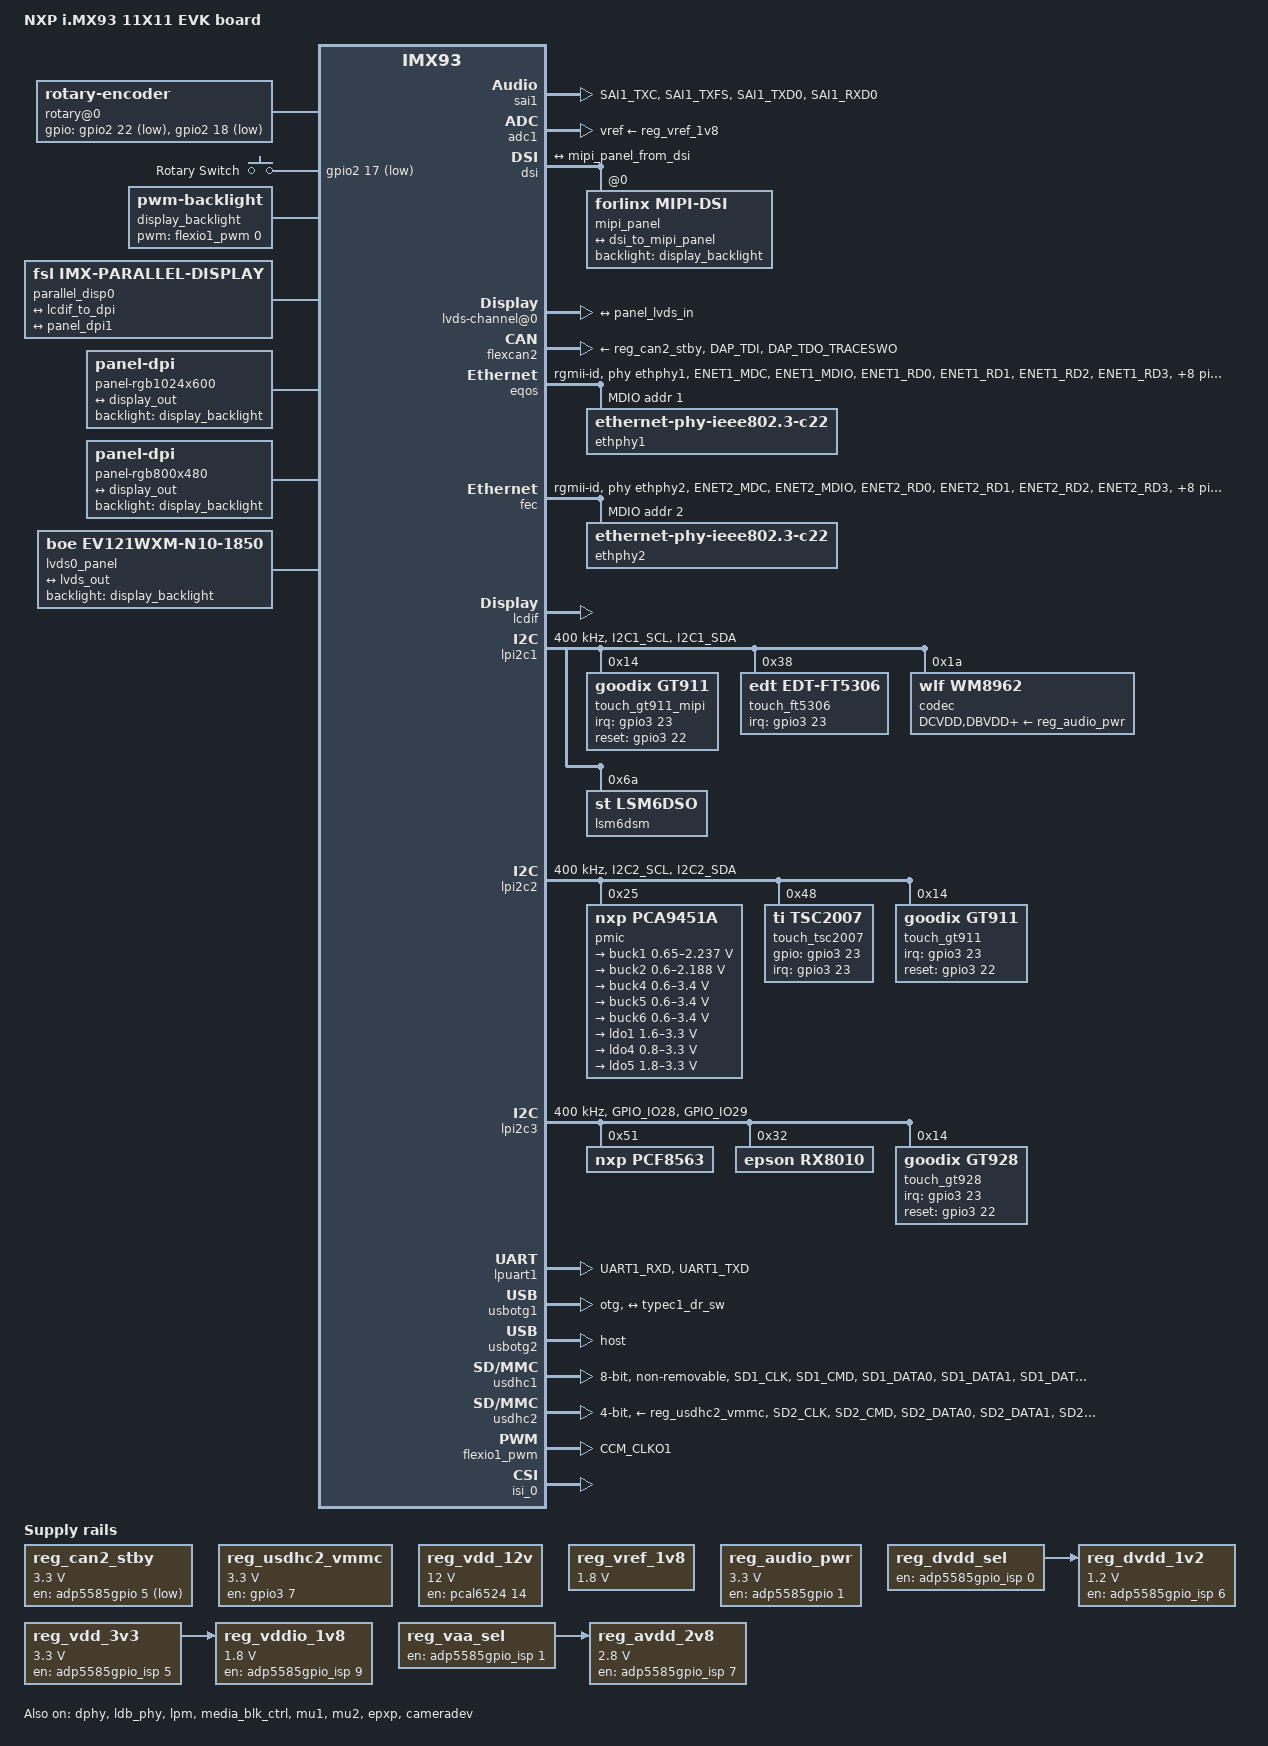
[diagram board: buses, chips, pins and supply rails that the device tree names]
// SPDX-License-Identifier: (GPL-2.0+ OR MIT)
/*
 * Copyright 2022 NXP
 */

/dts-v1/;

#include <dt-bindings/usb/pd.h>
#include "imx93.dtsi"
#include "imx93-pinfunc.h"  /*added*/
&ele_mu {
	memory-region = <&ele_reserved>;
};

/ {
	model = "NXP i.MX93 11X11 EVK board";
	compatible = "fsl,imx93-11x11-evk", "fsl,imx93";

	chosen {
		stdout-path = &lpuart1;
	};
/*added*/
rotary@0 {
        compatible = "rotary-encoder";
        pinctrl-names = "default";
        pinctrl-0 = <&rotary_encoder_pins>;
        gpios = <&gpio2 22 GPIO_ACTIVE_LOW>,   /* OUTA: P11-15 */
                <&gpio2 18 GPIO_ACTIVE_LOW>;   /* OUTB: P11-12 */
        linux,axis = <0>;
        rotary-encoder,relative-axis;
        rotary-encoder,rollover;
        rotary-encoder,steps-per-period = <2>;
        debounce-interval = <2>;
        wakeup-source;
    };

    rotary_sw: rotary-sw {
        compatible = "gpio-keys";
        pinctrl-names = "default";
        pinctrl-0 = <&rotary_sw_pins>;
        status = "okay";
 
        button {
            label = "Rotary Switch";
            gpios = <&gpio2 17 GPIO_ACTIVE_LOW>;  /* SW: P11-11 */
            linux,code = <28>; /* KEY_ENTER */
            debounce-interval = <10>;
        };
    };
/*added*/
/*	memory@80000000 {
		device_type = "memory";
		reg = <0x00000000 0x80000000 0x00000000 0x40000000>;
	};*/
	forlinx_control {
		//forlinx control display panel
		//"rgb1024x600" : rgb interface output 1024*600 image
		//"rgb800x480_capacitive" : rgb interface output 800x480 imag with capacitive touchpad
		//"rgb800x480_resistive" : rgb interface output 800x480 imag with resistive touchpad
		//"lvds" : lvds interface
		//"mipidsi" : mipidsi interface
		//"disabled" :  display interface, both rgb, lvds, mipidsi disabled
		//others keys are considered as interface disabled

		status = "disabled";
		video-vp0 = "rgb1024x600";   //rgb1024x600 rgb800x480_capacitive rgb800x480_resistive lvds mipidsi disabled
	};
	reserved-memory {
		#address-cells = <2>;
		#size-cells = <2>;
		ranges;

		linux,cma {
			compatible = "shared-dma-pool";
			reusable;
			alloc-ranges = <0 0x80000000 0 0x40000000>;
			size = <0 0x10000000>;
			linux,cma-default;
		};

/*		ethosu_mem: ethosu_region@C0000000 {
			compatible = "shared-dma-pool";
			reusable;
			reg = <0x0 0xC0000000 0x0 0x10000000>;
		};*/

		vdev0vring0: vdev0vring0@a4000000 {
			reg = <0 0xa4000000 0 0x8000>;
			no-map;
		};

		vdev0vring1: vdev0vring1@a4008000 {
			reg = <0 0xa4008000 0 0x8000>;
			no-map;
		};

		vdev1vring0: vdev1vring0@a4000000 {
			reg = <0 0xa4010000 0 0x8000>;
			no-map;
		};

		vdev1vring1: vdev1vring1@a4018000 {
			reg = <0 0xa4018000 0 0x8000>;
			no-map;
		};

		rsc_table: rsc-table@2021e000 {
			reg = <0 0x2021e000 0 0x1000>;
			no-map;
		};

		vdevbuffer: vdevbuffer@a4020000 {
			compatible = "shared-dma-pool";
			reg = <0 0xa4020000 0 0x100000>;
			no-map;
		};

		ele_reserved: ele-reserved@a4120000 {
			compatible = "shared-dma-pool";
			reg = <0 0xa4120000 0 0x100000>;
			no-map;
		};
	};

	cm33: imx93-cm33 {
		compatible = "fsl,imx93-cm33";
		mbox-names = "tx", "rx", "rxdb";
		mboxes = <&mu1 0 1
			  &mu1 1 1
			  &mu1 3 1>;
		memory-region = <&vdevbuffer>, <&vdev0vring0>, <&vdev0vring1>,
				<&vdev1vring0>, <&vdev1vring1>, <&rsc_table>;
		fsl,startup-delay-ms = <500>;
	};

/*	ethosu {
		compatible = "arm,ethosu";
		fsl,cm33-proc = <&cm33>;
		memory-region = <&ethosu_mem>;
		power-domains = <&mlmix>;
	};*/

	reg_can2_stby: regulator-can2-stby {
		compatible = "regulator-fixed";
		regulator-name = "can2-stby";
		regulator-min-microvolt = <3300000>;
		regulator-max-microvolt = <3300000>;
		gpio = <&adp5585gpio 5 GPIO_ACTIVE_LOW>;
		enable-active-low;
	};

	reg_usdhc2_vmmc: regulator-usdhc2 {
		compatible = "regulator-fixed";
		pinctrl-names = "default";
		pinctrl-0 = <&pinctrl_reg_usdhc2_vmmc>;
		regulator-name = "VSD_3V3";
		regulator-min-microvolt = <3300000>;
		regulator-max-microvolt = <3300000>;
		gpio = <&gpio3 7 GPIO_ACTIVE_HIGH>;
		off-on-delay-us = <12000>;
		enable-active-high;
	};

	reg_vdd_12v: regulator-vdd-12v {
		compatible = "regulator-fixed";
		regulator-name = "reg_vdd_12v";
		regulator-min-microvolt = <12000000>;
		regulator-max-microvolt = <12000000>;
		gpio = <&pcal6524 14 GPIO_ACTIVE_HIGH>;
		enable-active-high;
	};

	reg_vref_1v8: regulator-adc-vref {
		compatible = "regulator-fixed";
		regulator-name = "vref_1v8";
		regulator-min-microvolt = <1800000>;
		regulator-max-microvolt = <1800000>;
	};

	reg_audio_pwr: regulator-audio-pwr {
		compatible = "regulator-fixed";
		regulator-name = "audio-pwr";
		regulator-min-microvolt = <3300000>;
		regulator-max-microvolt = <3300000>;
		gpio = <&adp5585gpio 1 GPIO_ACTIVE_HIGH>;
		enable-active-high;
		regulator-always-on;
	};

	reg_dvdd_sel: regulator-dvdd_sel {
		compatible = "regulator-fixed";
		regulator-name = "DVDD_SEL";
		gpio = <&adp5585gpio_isp 0 GPIO_ACTIVE_HIGH>;
		enable-active-high;
		startup-delay-us = <2000>;
	};

	reg_dvdd_1v2: regulator-dvdd {
		compatible = "regulator-fixed";
		regulator-name = "DVDD_1V2";
		gpio = <&adp5585gpio_isp 6 GPIO_ACTIVE_HIGH>;
		regulator-min-microvolt = <1200000>;
		regulator-max-microvolt = <1200000>;
		enable-active-high;
		vin-supply = <&reg_dvdd_sel>;
	};

	reg_vdd_3v3: regulator-vdd {
		compatible = "regulator-fixed";
		regulator-name = "VDD_3V3";
		gpio = <&adp5585gpio_isp 5 GPIO_ACTIVE_HIGH>;
		regulator-min-microvolt = <3300000>;
		regulator-max-microvolt = <3300000>;
		startup-delay-us = <4000>;
		enable-active-high;
	};

	reg_vddio_1v8: regulator-vddo {
		compatible = "regulator-fixed";
		regulator-name = "VDDIO_1V8";
		gpio = <&adp5585gpio_isp 9 GPIO_ACTIVE_HIGH>;
		regulator-min-microvolt = <1800000>;
		regulator-max-microvolt = <1800000>;
		startup-delay-us = <4000>;
		enable-active-high;
		vin-supply = <&reg_vdd_3v3>;
	};

	reg_vaa_sel: regulator-vaa_sel {
		compatible = "regulator-fixed";
		regulator-name = "VAA_SEL";
		gpio = <&adp5585gpio_isp 1 GPIO_ACTIVE_HIGH>;
		enable-active-high;
	};

	reg_avdd_2v8: regulator-avdd {
		compatible = "regulator-fixed";
		regulator-name = "AVDD_2V8";
		gpio = <&adp5585gpio_isp 7 GPIO_ACTIVE_HIGH>;
		regulator-min-microvolt = <2800000>;
		regulator-max-microvolt = <2800000>;
		enable-active-high;
		vin-supply = <&reg_vaa_sel>;
	};


	display_backlight: display_backlight {
		compatible = "pwm-backlight";
		pwms = <&flexio1_pwm 0 50000 0>;
		status = "okay";

		brightness-levels = < 
			0   1   2   3   4   5   6   7
			8   9  10  11  12  13  14  15
			16  17  18  19  20  21  22  23
			24  25  26  27  28  29  30  31
			32  33  34  35  36  37  38  39
			40  41  42  43  44  45  46  47
			48  49  50  51  52  53  54  55
			56  57  58  59  60  61  62  63
			64  65  66  67  68  69  70  71
			72  73  74  75  76  77  78  79
			80  81  82  83  84  85  86  87
			88  89  90  91  92  93  94  95
			96  97  98  99 100 101 102 103
			104 105 106 107 108 109 110 111
			112 113 114 115 116 117 118 119
			120 121 122 123 124 125 126 127
			128 129 130 131 132 133 134 135
			136 137 138 139 140 141 142 143
			144 145 146 147 148 149 150 151
			152 153 154 155 156 157 158 159
			160 161 162 163 164 165 166 167
			168 169 170 171 172 173 174 175
			176 177 178 179 180 181 182 183
			184 185 186 187 188 189 190 191
			192 193 194 195 196 197 198 199
			200 201 202 203 204 205 206 207
			208 209 210 211 212 213 214 215
			216 217 218 219 220 221 222 223
			224 225 226 227 228 229 230 231
			232 233 234 235 236 237 238 239
			240 241 242 243 244 245 246 247
			248 249 250 251 252 253 254 255
		>;
		default-brightness-level = <255>;
	};
};

&sai1 {
	#sound-dai-cells = <0>;
	pinctrl-names = "default";
	pinctrl-0 = <&pinctrl_sai1>;
	assigned-clocks = <&clk IMX93_CLK_SAI1>;
	assigned-clock-parents = <&clk IMX93_CLK_AUDIO_PLL>;
	assigned-clock-rates = <12288000>;
	status = "okay";
};

	
&adc1 {
	vref-supply = <&reg_vref_1v8>;
	status = "okay";
};

&dphy {
	status = "okay";
};

/ {
	parallel_disp0: disp0 {
		compatible = "fsl,imx-parallel-display";
		edid = <0>;
		interface-pix-fmt = "rgb888";
		#size-cells = <0>;
		#address-cells = <1>;
		status = "okay";

		pinctrl-names = "default";
		pinctrl-0 = <&pinctrl_lcdif0>;

		port@0 {
			reg = <0>;

			display_in: endpoint {
				remote-endpoint = <&lcdif_to_dpi>;
			};
		};

		port@1 {
			reg = <1>;

			display_out: endpoint {
				remote-endpoint = <&panel_dpi1>;
			};
		};
	};

	panel-rgb1024x600 {
		bus-fmt = "rgb888";
		bits-per-color = <8>;
		panel-height-mm = <121>;
		panel-width-mm = <68>;
		status = "okay";
		backlight = <&display_backlight>;
		compatible = "panel-dpi";

		panel-timing {
			pixelclk-active = <0>;
			de-active = <1>;
			vsync-active = <0>;
			hsync-active = <0>;
			vsync-len = <2>;
			hsync-len = <20>;
			vfront-porch = <10>;
			vback-porch = <23>;
			hfront-porch = <140>;
			hback-porch = <160>;
			vactive = <600>;
			hactive = <1024>;
			clock-frequency = <51000000>;
		};

		ports {
			#size-cells = <1>;
			#address-cells = <1>;
			port@0 {
				panel_dpi0: endpoint {
					remote-endpoint = <&display_out>;
				};
			};
		};
	};

	panel-rgb800x480 {
		compatible = "panel-dpi";
		bus-fmt = "rgb888";
		bits-per-color = <8>;
		height-mm = <121>;
		width-mm = <68>;
		status = "okay";
		backlight = <&display_backlight>;

		rotation = <0>;

		panel-timing {
			pixelclk-active = <0>;
			de-active = <1>;
			vsync-active = <0>;
			hsync-active = <0>;
			vsync-len = <3>;
			hsync-len = <26>;
			vfront-porch = <22>;
			vback-porch = <20>;
			hfront-porch = <210>;
			hback-porch = <20>;
			vactive = <480>;
			hactive = <800>;
			clock-frequency = <30000000>;
		};

		ports {
			#size-cells = <1>;
			#address-cells = <1>;

			port@0 {
				panel_dpi1: endpoint {
					remote-endpoint = <&display_out>;
				};
			};
		};
	};

	lvds0_panel {
		//compatible = "forlinx,panel", "panel-lvds";
		compatible = "boe,ev121wxm-n10-1850";
		backlight = <&display_backlight>;
		panel-type = "lvds";

		width-mm = <218>;
		height-mm = <138>;
		data-mapping = "vesa-24";
		status = "okay";

		panel-timing {
			hback-porch     = <10>;
			hfront-porch    = <140>;
			hactive         = <1280>;
			hsync-len       = <10>;
			vback-porch     = <1>;
			vfront-porch    = <2>;
			vactive         = <800>;
			vsync-len       = <20>;
			clock-frequency = <72000000>;
		};

		ports {
			#address-cells = <1>;
			#size-cells = <0>;

			port@0 {
				reg = <0>;
				panel_lvds_in: endpoint {
					remote-endpoint = <&lvds_out>;
				};
			};
		};
	};
};

&dsi {
//	status = "okay";

	#address-cells = <1>;
	#size-cells = <0>;

	ports {
		port@1 {
			reg = <1>;

			dsi_to_mipi_panel: endpoint {
				remote-endpoint = <&mipi_panel_from_dsi>;
			};
		};
	};

	mipi_panel {
		compatible = "forlinx,mipi-dsi";
		reg = <0>;
		dsi-lanes = <4>;
		video-mode = <2>;	/* 0: burst mode
					 * 1: non-burst mode with sync event
					 * 2: non-burst mode with sync pulse
					 */
		panel-width-mm = <68>;
		panel-height-mm = <121>;
		backlight = <&display_backlight>;
		status = "okay";
		display-timings { //kernel
			panel7_1024x600_kernel: timings {
				hback-porch     = <160>;
				hfront-porch    = <160>;
				hactive                 = <1024>;
				hsync-len               = <70>;
				vback-porch     = <23>;
				vfront-porch    = <12>;
				vactive         = <600>;
				vsync-len       = <10>;
				clock-frequency = <45000000>;
				vsync-active    = <0>;
				hsync-active    = <0>;
				de-active       = <0>;
				pixelclk-active = <0>;
			};
		};

		ports {
			#address-cells = <1>;
			#size-cells = <0>;
			port@0 {
				reg = <0>;
				mipi_panel_from_dsi: endpoint {
					remote-endpoint = <&dsi_to_mipi_panel>;
				};
			};
		};
	};
};

&ldb_phy {
	status = "okay";
};

&ldb {
//	status = "okay";

	lvds-channel@0 {
		//fsl,data-mapping = "spwg";
		//fsl,data-width = <24>;
		status = "okay";
		port@1 {
			reg = <1>;

			lvds_out: endpoint {
				remote-endpoint = <&panel_lvds_in>;
			};
		};
	};
};

&lcdif_to_dpi {
	remote-endpoint = <&display_in>;
};

&flexcan2 {
	pinctrl-names = "default";
	pinctrl-0 = <&pinctrl_flexcan2>;
	xceiver-supply = <&reg_can2_stby>;
	status = "okay";
};

&eqos {
	pinctrl-names = "default";
	pinctrl-0 = <&pinctrl_eqos>;
	phy-mode = "rgmii-id";
	phy-handle = <&ethphy1>;
	status = "okay";

	mdio {
		compatible = "snps,dwmac-mdio";
		#address-cells = <1>;
		#size-cells = <0>;
		clock-frequency = <5000000>;

		ethphy1: ethernet-phy@1 {
			compatible = "ethernet-phy-ieee802.3-c22";
			reg = <1>;
			eee-broken-1000t;
		};
	};
};

&fec {
	pinctrl-names = "default";
	pinctrl-0 = <&pinctrl_fec>;
	phy-mode = "rgmii-id";
	phy-handle = <&ethphy2>;
	fsl,magic-packet;
	status = "okay";

	mdio {
		#address-cells = <1>;
		#size-cells = <0>;
		clock-frequency = <5000000>;

		ethphy2: ethernet-phy@2 {
			compatible = "ethernet-phy-ieee802.3-c22";
			reg = <2>;
			eee-broken-1000t;
		};
	};
};

&lcdif {
	status = "okay";
	/*assigned-clock-rates = <445333333>, <148444444>, <400000000>, <133333333>;*/
	assigned-clock-rates = <498000000>, <71142857>, <400000000>, <133333333>;
};

&lpm {
	soc-supply = <&buck1>;
	status = "okay";
};

/*
 * When add, delete or change any target device setting in &lpi2c1,
 * please synchronize the changes to the &i3c1 bus in imx93-11x11-evk-i3c.dts.
 */
&lpi2c1 {
	#address-cells = <1>;
	#size-cells = <0>;
	clock-frequency = <400000>;
	pinctrl-names = "default", "sleep";
	pinctrl-0 = <&pinctrl_lpi2c1>;
	pinctrl-1 = <&pinctrl_lpi2c1>;
	status = "okay";

	touch_gt911_mipi: touch_gt911_mipi@14 {
		compatible = "goodix,gt911";
		reg = <0x14>;
		status = "okay";
		edge-failling-trigger;
		interrupt-parent = <&gpio3>;
		interrupts = <23 IRQ_TYPE_EDGE_FALLING>;
		irq-gpios = <&gpio3 23 GPIO_ACTIVE_HIGH>;
		reset-gpios = <&gpio3 22 GPIO_ACTIVE_HIGH>;
		touchscreen-size-x = <1024>;
		touchscreen-size-y = <600>;
	};
	touch_ft5306: touch_ft5306@38 {
                compatible = "edt,edt-ft5306", "edt,edt-ft5x06";
                reg = <0x38>;
                edge-failling-trigger;
                interrupt-parent = <&gpio3>;
                interrupts = <23 IRQ_TYPE_EDGE_FALLING>;
                touchscreen-size-x = <1024>;
                touchscreen-size-y = <600>;
                status = "okay";
        };
	codec: wm8962@1a {
		compatible = "wlf,wm8962";
		reg = <0x1a>;
		clocks = <&clk IMX93_CLK_SAI3_GATE>;
		DCVDD-supply = <&reg_audio_pwr>;
		DBVDD-supply = <&reg_audio_pwr>;
		AVDD-supply = <&reg_audio_pwr>;
		CPVDD-supply = <&reg_audio_pwr>;
		MICVDD-supply = <&reg_audio_pwr>;
		PLLVDD-supply = <&reg_audio_pwr>;
		SPKVDD1-supply = <&reg_audio_pwr>;
		SPKVDD2-supply = <&reg_audio_pwr>;
		gpio-cfg = <
			0x0000 /* 0:Default */
			0x0000 /* 1:Default */
			0x0000 /* 2:FN_DMICCLK */
			0x0000 /* 3:Default */
			0x0000 /* 4:FN_DMICCDAT */
			0x0000 /* 5:Default */
		>;
	};

/*	adv7535: hdmi@3d {
		compatible = "adi,adv7535";
		reg = <0x3d>;
		adi,addr-cec = <0x3b>;
		adi,dsi-lanes = <4>;
		status = "okay";

		port {
			adv7535_to_dsi: endpoint {
				remote-endpoint = <&dsi_to_adv7535>;
			};
		};
	};*/

	lsm6dsm@6a {
		compatible = "st,lsm6dso";
		reg = <0x6a>;
	};
};

&lpi2c2 {
	#address-cells = <1>;
	#size-cells = <0>;
	clock-frequency = <400000>;
	pinctrl-names = "default", "sleep";
	pinctrl-0 = <&pinctrl_lpi2c2>;
	pinctrl-1 = <&pinctrl_lpi2c2>;
	status = "okay";

	pmic@25 {
		compatible = "nxp,pca9451a";
		reg = <0x25>;
/*		interrupt-parent = <&pcal6524>;
		interrupts = <11 IRQ_TYPE_EDGE_FALLING>;*/

		regulators {
			buck1: BUCK1 {
				regulator-name = "BUCK1";
				regulator-min-microvolt = <650000>;
				regulator-max-microvolt = <2237500>;
				regulator-boot-on;
				regulator-always-on;
				regulator-ramp-delay = <3125>;
			};

			buck2: BUCK2 {
				regulator-name = "BUCK2";
				regulator-min-microvolt = <600000>;
				regulator-max-microvolt = <2187500>;
				regulator-boot-on;
				regulator-always-on;
				regulator-ramp-delay = <3125>;
			};

			buck4: BUCK4{
				regulator-name = "BUCK4";
				regulator-min-microvolt = <600000>;
				regulator-max-microvolt = <3400000>;
				regulator-boot-on;
				regulator-always-on;
			};

			buck5: BUCK5{
				regulator-name = "BUCK5";
				regulator-min-microvolt = <600000>;
				regulator-max-microvolt = <3400000>;
				regulator-boot-on;
				regulator-always-on;
			};

			buck6: BUCK6 {
				regulator-name = "BUCK6";
				regulator-min-microvolt = <600000>;
				regulator-max-microvolt = <3400000>;
				regulator-boot-on;
				regulator-always-on;
			};

			ldo1: LDO1 {
				regulator-name = "LDO1";
				regulator-min-microvolt = <1600000>;
				regulator-max-microvolt = <3300000>;
				regulator-boot-on;
				regulator-always-on;
			};

			ldo4: LDO4 {
				regulator-name = "LDO4";
				regulator-min-microvolt = <800000>;
				regulator-max-microvolt = <3300000>;
				regulator-boot-on;
				regulator-always-on;
			};

			ldo5: LDO5 {
				regulator-name = "LDO5";
				regulator-min-microvolt = <1800000>;
				regulator-max-microvolt = <3300000>;
				regulator-boot-on;
				regulator-always-on;
			};
		};
	};

        touch_tsc2007: touch_tsc2007@48 {
                compatible = "ti,tsc2007";
                reg = <0x48>;
                interrupt-parent = <&gpio3>;
                interrupts = <23 IRQ_TYPE_EDGE_FALLING>;
                gpios = <&gpio3 23 GPIO_ACTIVE_HIGH>;
                ti,x-plate-ohms = <180>;
		ti,fuzzx = <800>;
		ti,fuzzy = <480>;
                status = "okay";
        };


	touch_gt911: touch_gt911@14 {
		compatible = "goodix,gt911";
		reg = <0x14>;
		status = "okay";
		edge-failling-trigger;
		interrupt-parent = <&gpio3>;
		interrupts = <23 IRQ_TYPE_EDGE_FALLING>;
		irq-gpios = <&gpio3 23 GPIO_ACTIVE_HIGH>;
		reset-gpios = <&gpio3 22 GPIO_ACTIVE_HIGH>;
		touchscreen-size-x = <800>;
		touchscreen-size-y = <480>;
		touchscreen-inverted-x;
		touchscreen-inverted-y;
	};
};

&lpi2c3 {
	#address-cells = <1>;
	#size-cells = <0>;
	clock-frequency = <400000>;
	pinctrl-names = "default", "sleep";
	pinctrl-0 = <&pinctrl_lpi2c3>;
	pinctrl-1 = <&pinctrl_lpi2c3>;
	status = "okay";

	pcf8563:rtc@51 {
                compatible = "nxp,pcf8563";
                reg = <0x51>;
                status = "okay";
        };

        rx8010:rtc@32 {
                compatible = "epson,rx8010";
                reg = <0x32>;
                status = "okay";
        };
	touch_gt928: touch_gt928@14 {
		compatible = "goodix,gt928";
		reg = <0x14>;
		status = "okay";
		edge-failling-trigger;
		interrupt-parent = <&gpio3>;
		interrupts = <23 IRQ_TYPE_EDGE_FALLING>;
		irq-gpios = <&gpio3 23 GPIO_ACTIVE_HIGH>;
		reset-gpios = <&gpio3 22 GPIO_ACTIVE_HIGH>;
		touchscreen-size-x = <1280>;
		touchscreen-size-y = <800>;
		touchscreen-swapped-x-y;
	};
/*	pcf2131: rtc@53 {
			compatible = "nxp,pcf2131";
			reg = <0x53>;
			interrupt-parent = <&pcal6524>;
			interrupts = <1 IRQ_TYPE_EDGE_FALLING>;
			status = "okay";
	};

	ptn5110: tcpc@50 {
		compatible = "nxp,ptn5110";
		reg = <0x50>;
		interrupt-parent = <&gpio3>;
		interrupts = <27 IRQ_TYPE_LEVEL_LOW>;
		status = "okay";

		port {
			typec1_dr_sw: endpoint {
				remote-endpoint = <&usb1_drd_sw>;
			};
		};

		typec1_con: connector {
			compatible = "usb-c-connector";
			label = "USB-C";
			power-role = "dual";
			data-role = "dual";
			try-power-role = "sink";
			source-pdos = <PDO_FIXED(5000, 3000, PDO_FIXED_USB_COMM)>;
			sink-pdos = <PDO_FIXED(5000, 3000, PDO_FIXED_USB_COMM)
				     PDO_VAR(5000, 20000, 3000)>;
			op-sink-microwatt = <15000000>;
			self-powered;
		};
	};

	ptn5110_2: tcpc@51 {
		compatible = "nxp,ptn5110";
		reg = <0x51>;
		interrupt-parent = <&gpio3>;
		interrupts = <27 IRQ_TYPE_LEVEL_LOW>;
		status = "okay";

		port {
			typec2_dr_sw: endpoint {
				remote-endpoint = <&usb2_drd_sw>;
			};
		};

		typec2_con: connector {
			compatible = "usb-c-connector";
			label = "USB-C";
			power-role = "dual";
			data-role = "dual";
			try-power-role = "sink";
			source-pdos = <PDO_FIXED(5000, 3000, PDO_FIXED_USB_COMM)>;
			sink-pdos = <PDO_FIXED(5000, 3000, PDO_FIXED_USB_COMM)
				     PDO_VAR(5000, 20000, 3000)>;
			op-sink-microwatt = <15000000>;
			self-powered;
		};
	};

	adp5585_isp: mfd-isp@34 {
		compatible = "adi,adp5585";
		reg = <0x34>;
		status = "okay";

		adp5585gpio_isp: gpio-isp@34 {
			compatible = "adp5585-gpio";
			gpio-controller;
			#gpio-cells = <2>;
		};

		adp5585pwm_isp: pwm-isp@34 {
			compatible = "adp5585-pwm";
			#pwm-cells = <3>;
		};
	};

	ap1302: ap1302_mipi@3c {
		compatible = "onsemi,ap1302";
		reg = <0x3c>;
		reset-gpios   = <&adp5585gpio 0 GPIO_ACTIVE_LOW>;
		isp_en-gpios  = <&adp5585gpio_isp 2 GPIO_ACTIVE_HIGH>;
		DVDD-supply   = <&reg_dvdd_1v2>;
		VDDIO-supply  = <&reg_vddio_1v8>;
		AVDD-supply   = <&reg_avdd_2v8>;
		status = "okay";

		port {
			ar1302_mipi_ep: endpoint {
				remote-endpoint = <&mipi_csi_ep>;
			};
		};
	};*/
};

&lpuart1 { /* console */
	pinctrl-names = "default";
	pinctrl-0 = <&pinctrl_uart1>;
	status = "okay";
};


&media_blk_ctrl {
	status = "okay";
};

&mu1 {
	status = "okay";
};

&mu2 {
	status = "okay";
};

&usbotg1 {
	dr_mode = "otg";
	hnp-disable;
	srp-disable;
	adp-disable;
	usb-role-switch;
	disable-over-current;
	samsung,picophy-pre-emp-curr-control = <3>;
	samsung,picophy-dc-vol-level-adjust = <7>;
	status = "okay";

	port {
		usb1_drd_sw: endpoint {
			remote-endpoint = <&typec1_dr_sw>;
		};
	};
};

&usbotg2 {
	dr_mode = "host";
	hnp-disable;
	srp-disable;
	adp-disable;
	/*usb-role-switch;*/
	disable-over-current;
	samsung,picophy-pre-emp-curr-control = <3>;
	samsung,picophy-dc-vol-level-adjust = <7>;
	status = "okay";
/*
	port {
		usb2_drd_sw: endpoint {
			remote-endpoint = <&typec2_dr_sw>;
		};
	};*/
};

&usdhc1 {
	pinctrl-names = "default", "state_100mhz", "state_200mhz";
	pinctrl-0 = <&pinctrl_usdhc1>;
	pinctrl-1 = <&pinctrl_usdhc1>;
	pinctrl-2 = <&pinctrl_usdhc1>;
	bus-width = <8>;
	non-removable;
	status = "okay";
};

&usdhc2 {
	pinctrl-names = "default", "state_100mhz", "state_200mhz";
	pinctrl-0 = <&pinctrl_usdhc2>, <&pinctrl_usdhc2_gpio>;
	pinctrl-1 = <&pinctrl_usdhc2>, <&pinctrl_usdhc2_gpio>;
	pinctrl-2 = <&pinctrl_usdhc2>, <&pinctrl_usdhc2_gpio>;
	cd-gpios = <&gpio3 00 GPIO_ACTIVE_LOW>;
	vmmc-supply = <&reg_usdhc2_vmmc>;
	bus-width = <4>;
	status = "okay";
	no-sdio;
	no-mmc;
};

&flexio1_pwm {
	pinctrl-names = "default";
	pinctrl-0 = <&pinctrl_flexiopwm>;
	status = "okay";
	pwmpin = /bits/ 8 <26>;
};
&iomuxc {
/*added*/

    rotary_encoder_pins: rotary-encoder-pins {
        fsl,pins = <
            MX93_PAD_GPIO_IO18__GPIO2_IO18  0x31  /* OUTA (P11-12) */
            MX93_PAD_GPIO_IO22__GPIO2_IO22  0x31  /* OUTB (P11-15) */
              
        >;
    };

    rotary_sw_pins: rotary-sw-pins {
        fsl,pins = <
		MX93_PAD_GPIO_IO17__GPIO2_IO17  0x31  /* SW (P11-11) */ 
        >;
    };

/*added*/
	pinctrl_lcdif0: lcdif0grp {
		fsl,pins = <
			MX93_PAD_GPIO_IO00__MEDIAMIX_DISP_CLK		0x31e
			MX93_PAD_GPIO_IO01__MEDIAMIX_DISP_DE		0x31e
			MX93_PAD_GPIO_IO02__MEDIAMIX_DISP_VSYNC		0x31e
			MX93_PAD_GPIO_IO03__MEDIAMIX_DISP_HSYNC		0x31e
			MX93_PAD_GPIO_IO04__MEDIAMIX_DISP_DATA00		0x31e
			MX93_PAD_GPIO_IO05__MEDIAMIX_DISP_DATA01		0x31e
			MX93_PAD_GPIO_IO06__MEDIAMIX_DISP_DATA02		0x31e
			MX93_PAD_GPIO_IO07__MEDIAMIX_DISP_DATA03		0x31e
			MX93_PAD_GPIO_IO08__MEDIAMIX_DISP_DATA04		0x31e
			MX93_PAD_GPIO_IO09__MEDIAMIX_DISP_DATA05		0x31e
			MX93_PAD_GPIO_IO10__MEDIAMIX_DISP_DATA06		0x31e
			MX93_PAD_GPIO_IO11__MEDIAMIX_DISP_DATA07		0x31e
			MX93_PAD_GPIO_IO12__MEDIAMIX_DISP_DATA08		0x31e
			MX93_PAD_GPIO_IO13__MEDIAMIX_DISP_DATA09		0x31e
			MX93_PAD_GPIO_IO14__MEDIAMIX_DISP_DATA10		0x31e
			MX93_PAD_GPIO_IO15__MEDIAMIX_DISP_DATA11		0x31e
			MX93_PAD_GPIO_IO16__MEDIAMIX_DISP_DATA12		0x31e
			MX93_PAD_GPIO_IO17__MEDIAMIX_DISP_DATA13		0x31e
			MX93_PAD_GPIO_IO18__MEDIAMIX_DISP_DATA14		0x31e
			MX93_PAD_GPIO_IO19__MEDIAMIX_DISP_DATA15		0x31e
			MX93_PAD_GPIO_IO20__MEDIAMIX_DISP_DATA16		0x31e
			MX93_PAD_GPIO_IO21__MEDIAMIX_DISP_DATA17		0x31e
			MX93_PAD_GPIO_IO22__MEDIAMIX_DISP_DATA18		0x31e
			MX93_PAD_GPIO_IO23__MEDIAMIX_DISP_DATA19		0x31e
			MX93_PAD_GPIO_IO24__MEDIAMIX_DISP_DATA20		0x31e
			MX93_PAD_GPIO_IO25__MEDIAMIX_DISP_DATA21		0x31e
			MX93_PAD_GPIO_IO26__MEDIAMIX_DISP_DATA22		0X31e
			MX93_PAD_GPIO_IO27__MEDIAMIX_DISP_DATA23		0X31e
		>;
	};
	pinctrl_flexcan2: flexcan2grp {
		fsl,pins = <
			MX93_PAD_DAP_TDI__CAN2_TX			0x139e
			MX93_PAD_DAP_TDO_TRACESWO__CAN2_RX	0x139e
		>;
	};

	pinctrl_flexiopwm: flexiopwmgrp {
		fsl,pins = <
			MX93_PAD_CCM_CLKO1__FLEXIO1_FLEXIO26		0x39e
		>;
	};
	pinctrl_lpi2c1: lpi2c1grp {
		fsl,pins = <
			MX93_PAD_I2C1_SCL__LPI2C1_SCL			0x40000b9e
			MX93_PAD_I2C1_SDA__LPI2C1_SDA			0x40000b9e
		>;
	};

	pinctrl_lpi2c2: lpi2c2grp {
		fsl,pins = <
			MX93_PAD_I2C2_SCL__LPI2C2_SCL			0x40000b9e
			MX93_PAD_I2C2_SDA__LPI2C2_SDA			0x40000b9e
		>;
	};

	pinctrl_lpi2c3: lpi2c3grp {
		fsl,pins = <
			MX93_PAD_GPIO_IO28__LPI2C3_SDA			0x40000b9e
			MX93_PAD_GPIO_IO29__LPI2C3_SCL			0x40000b9e
		>;
	};

	pinctrl_pcal6524: pcal6524grp {
		fsl,pins = <
			MX93_PAD_CCM_CLKO2__GPIO3_IO27			0x31e
		>;
	};

	pinctrl_eqos: eqosgrp {
		fsl,pins = <
			MX93_PAD_ENET1_MDC__ENET_QOS_MDC			0x57e
			MX93_PAD_ENET1_MDIO__ENET_QOS_MDIO			0x57e
			MX93_PAD_ENET1_RD0__ENET_QOS_RGMII_RD0			0x57e
			MX93_PAD_ENET1_RD1__ENET_QOS_RGMII_RD1			0x57e
			MX93_PAD_ENET1_RD2__ENET_QOS_RGMII_RD2			0x57e
			MX93_PAD_ENET1_RD3__ENET_QOS_RGMII_RD3			0x57e
			MX93_PAD_ENET1_RXC__CCM_ENET_QOS_CLOCK_GENERATE_RX_CLK	0x5fe
			MX93_PAD_ENET1_RX_CTL__ENET_QOS_RGMII_RX_CTL		0x57e
			MX93_PAD_ENET1_TD0__ENET_QOS_RGMII_TD0			0x57e
			MX93_PAD_ENET1_TD1__ENET_QOS_RGMII_TD1			0x57e
			MX93_PAD_ENET1_TD2__ENET_QOS_RGMII_TD2			0x57e
			MX93_PAD_ENET1_TD3__ENET_QOS_RGMII_TD3			0x57e
			MX93_PAD_ENET1_TXC__CCM_ENET_QOS_CLOCK_GENERATE_TX_CLK	0x5fe
			MX93_PAD_ENET1_TX_CTL__ENET_QOS_RGMII_TX_CTL		0x57e
		>;
	};

	pinctrl_fec: fecgrp {
		fsl,pins = <
			MX93_PAD_ENET2_MDC__ENET1_MDC			0x57e
			MX93_PAD_ENET2_MDIO__ENET1_MDIO			0x57e
			MX93_PAD_ENET2_RD0__ENET1_RGMII_RD0		0x57e
			MX93_PAD_ENET2_RD1__ENET1_RGMII_RD1		0x57e
			MX93_PAD_ENET2_RD2__ENET1_RGMII_RD2		0x57e
			MX93_PAD_ENET2_RD3__ENET1_RGMII_RD3		0x57e
			MX93_PAD_ENET2_RXC__ENET1_RGMII_RXC		0x5fe
			MX93_PAD_ENET2_RX_CTL__ENET1_RGMII_RX_CTL	0x57e
			MX93_PAD_ENET2_TD0__ENET1_RGMII_TD0		0x57e
			MX93_PAD_ENET2_TD1__ENET1_RGMII_TD1		0x57e
			MX93_PAD_ENET2_TD2__ENET1_RGMII_TD2		0x57e
			MX93_PAD_ENET2_TD3__ENET1_RGMII_TD3		0x57e
			MX93_PAD_ENET2_TXC__ENET1_RGMII_TXC		0x5fe
			MX93_PAD_ENET2_TX_CTL__ENET1_RGMII_TX_CTL	0x57e
		>;
	};

	pinctrl_uart1: uart1grp {
		fsl,pins = <
			MX93_PAD_UART1_RXD__LPUART1_RX			0x31e
			MX93_PAD_UART1_TXD__LPUART1_TX			0x31e
		>;
	};

	pinctrl_uart5: uart5grp {
		fsl,pins = <
			MX93_PAD_DAP_TDO_TRACESWO__LPUART5_TX	0x31e
			MX93_PAD_DAP_TDI__LPUART5_RX		0x31e
			MX93_PAD_DAP_TMS_SWDIO__LPUART5_RTS_B	0x31e
			MX93_PAD_DAP_TCLK_SWCLK__LPUART5_CTS_B	0x31e
		>;
	};

	pinctrl_usdhc1: usdhc1grp {
		fsl,pins = <
			MX93_PAD_SD1_CLK__USDHC1_CLK		0x15fe
			MX93_PAD_SD1_CMD__USDHC1_CMD		0x13fe
			MX93_PAD_SD1_DATA0__USDHC1_DATA0	0x13fe
			MX93_PAD_SD1_DATA1__USDHC1_DATA1	0x13fe
			MX93_PAD_SD1_DATA2__USDHC1_DATA2	0x13fe
			MX93_PAD_SD1_DATA3__USDHC1_DATA3	0x13fe
			MX93_PAD_SD1_DATA4__USDHC1_DATA4	0x13fe
			MX93_PAD_SD1_DATA5__USDHC1_DATA5	0x13fe
			MX93_PAD_SD1_DATA6__USDHC1_DATA6	0x13fe
			MX93_PAD_SD1_DATA7__USDHC1_DATA7	0x13fe
			MX93_PAD_SD1_STROBE__USDHC1_STROBE	0x15fe
		>;
	};

	pinctrl_reg_usdhc2_vmmc: regusdhc2vmmcgrp {
		fsl,pins = <
			MX93_PAD_SD2_RESET_B__GPIO3_IO07	0x31e
		>;
	};

	pinctrl_usdhc2_gpio: usdhc2gpiogrp {
		fsl,pins = <
			MX93_PAD_SD2_CD_B__GPIO3_IO00		0x31e
		>;
	};

	pinctrl_usdhc2: usdhc2grp {
		fsl,pins = <
			MX93_PAD_SD2_CLK__USDHC2_CLK		0x15fe
			MX93_PAD_SD2_CMD__USDHC2_CMD		0x13fe
			MX93_PAD_SD2_DATA0__USDHC2_DATA0	0x13fe
			MX93_PAD_SD2_DATA1__USDHC2_DATA1	0x13fe
			MX93_PAD_SD2_DATA2__USDHC2_DATA2	0x13fe
			MX93_PAD_SD2_DATA3__USDHC2_DATA3	0x13fe
			MX93_PAD_SD2_VSELECT__USDHC2_VSELECT	0x51e
		>;
	};

	pinctrl_usdhc3: usdhc3grp {
		fsl,pins = <
			MX93_PAD_SD3_CLK__USDHC3_CLK		0x15fe
			MX93_PAD_SD3_CMD__USDHC3_CMD		0x13fe
			MX93_PAD_SD3_DATA0__USDHC3_DATA0	0x13fe
			MX93_PAD_SD3_DATA1__USDHC3_DATA1	0x13fe
			MX93_PAD_SD3_DATA2__USDHC3_DATA2	0x13fe
			MX93_PAD_SD3_DATA3__USDHC3_DATA3	0x13fe
		>;
	};

	pinctrl_usdhc3_wlan: usdhc3wlangrp {
		fsl,pins = <
			MX93_PAD_CCM_CLKO1__GPIO3_IO26		0x31e
		>;
	};

	pinctrl_sai1: sai1grp {
		fsl,pins = <
			MX93_PAD_SAI1_TXC__SAI1_TX_BCLK			0x31e
			MX93_PAD_SAI1_TXFS__SAI1_TX_SYNC		0x31e
			MX93_PAD_SAI1_TXD0__SAI1_TX_DATA00		0x31e
			MX93_PAD_SAI1_RXD0__SAI1_RX_DATA00		0x31e
		>;
	};

	pinctrl_sai3: sai3grp {
		fsl,pins = <
			MX93_PAD_GPIO_IO26__SAI3_TX_SYNC		0x31e
			MX93_PAD_GPIO_IO16__SAI3_TX_BCLK		0x31e
			MX93_PAD_GPIO_IO17__SAI3_MCLK		0x31e
			MX93_PAD_GPIO_IO19__SAI3_TX_DATA00		0x31e
			MX93_PAD_GPIO_IO20__SAI3_RX_DATA00		0x31e
		>;
	};

	pinctrl_pdm: pdmgrp {
		fsl,pins = <
			MX93_PAD_PDM_CLK__PDM_CLK			0x31e
			MX93_PAD_PDM_BIT_STREAM0__PDM_BIT_STREAM00	0x31e
			MX93_PAD_PDM_BIT_STREAM1__PDM_BIT_STREAM01	0x31e
		>;
	};

	pinctrl_spdif: spdifgrp {
		fsl,pins = <
			MX93_PAD_GPIO_IO22__SPDIF_IN		0x31e
			MX93_PAD_GPIO_IO23__SPDIF_OUT		0x31e
		>;
	};
};

&epxp {
	status = "okay";
};

&cameradev {
	status = "okay";
};

&isi_0 {
	status = "okay";

	cap_device {
		status = "okay";
	};
};
/*
&mipi_csi {
	#address-cells = <1>;
	#size-cells = <0>;
	status = "okay";

	port@0 {
		reg = <0>;
		mipi_csi_ep: endpoint {
			remote-endpoint = <&ar1302_mipi_ep>;
			data-lanes = <2>;
			cfg-clk-range = <28>;
			hs-clk-range = <0x2b>;
			bus-type = <4>;
		};
	};
};*/
